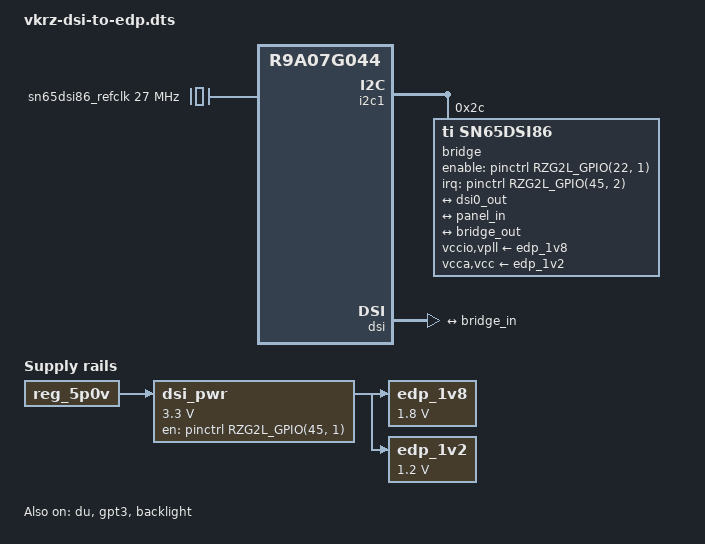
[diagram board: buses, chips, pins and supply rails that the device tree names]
     /*
 * Copyright 2023 Vekatech
 *
 * This program is free software; you can redistribute it and/or
 * modify it under the terms of the GNU General Public License
 * as published by the Free Software Foundation; either version 2
 * of the License, or (at your option) any later version.
 *
 * This program is distributed in the hope that it will be useful,
 * but WITHOUT ANY WARRANTY; without even the implied warranty of
 * MERCHANTABILITY or FITNESS FOR A PARTICULAR PURPOSE. See the
 * GNU General Public License for more details.
 */

/dts-v1/;
/plugin/;

#include <dt-bindings/pinctrl/rzg2l-pinctrl.h>
#include <dt-bindings/gpio/gpio.h>
#include <dt-bindings/interrupt-controller/irq.h>
#include <dt-bindings/interrupt-controller/irqc-rzg2l.h>

/ {
	compatible = "vekatech,vkrzg2lc", "renesas,r9a07g044";

	fragment@7 {
		target-path = "/";
		__overlay__ {
			// edp_panel:edp_panel {
			// 	status = "okay";
			// 	compatible = "boe,nv156fhm-n42";
			// 	power-supply = <&dsi_pwr>;
			// 	backlight = <&backlight>;
			// 	data-lanes = <0 1>;
			// 	port {
			// 		panel_in: endpoint {
			// 			remote-endpoint = <&bridge_out>;
			// 		};
			// 	};
			// };
            /*
             * DSI_PWR_EN (P45-1): enables 5V->3.3V and also enables 5V to panel/backlight.
             */
            dsi_pwr: dsi-pwr {
                compatible = "regulator-fixed";
                regulator-name = "dsi-pwr-en";
                regulator-min-microvolt = <3300000>;
                regulator-max-microvolt = <3300000>;
                gpio = <&pinctrl RZG2L_GPIO(45, 1) GPIO_ACTIVE_HIGH>;
                enable-active-high;
                /* enforce >= 100us before SN65 enable-gpios is asserted */
                startup-delay-us = <150000>;
                /* If 5V input regulator exists in base DTS, link it: */
                vin-supply = <&reg_5p0v>;
            };

            edp_1v8: vdd-1p8v {
                compatible = "regulator-fixed";
                regulator-name = "edp_1v8";
                regulator-min-microvolt = <1800000>;
                regulator-max-microvolt = <1800000>;
                /* 1.8V exists only when DSI power switch is on */
                vin-supply = <&dsi_pwr>;
            };
            edp_1v2: vdd-1p2v {
                compatible = "regulator-fixed";
                regulator-name = "edp_1v2";
                regulator-min-microvolt = <1200000>;
                regulator-max-microvolt = <1200000>;
                vin-supply = <&dsi_pwr>;
            };
			sn65dsi86_refclk: sn65dsi86-refclk {
				compatible = "fixed-clock";
				#clock-cells = <0>;

				clock-frequency = <27000000>;
			};
		};
	};
};

&i2c1 {
	#address-cells = <1>;
	#size-cells = <0>;

	bridge@2c {
		status = "okay";
		compatible = "ti,sn65dsi86";

		reg = <0x2c>;
		vccio-supply = <&edp_1v8>;
		vpll-supply = <&edp_1v8>;
		vcca-supply = <&edp_1v2>;
		vcc-supply = <&edp_1v2>;

		/* DSI_EN (P22-1) */
		enable-gpios = <&pinctrl RZG2L_GPIO(22, 1) GPIO_ACTIVE_HIGH>;
		/* IRQ (P45-2) */
		interrupt-parent = <&pinctrl>;
		interrupts = <RZG2L_GPIO(45, 2) IRQ_TYPE_LEVEL_HIGH>;
		irq-gpios = <&pinctrl RZG2L_GPIO(45, 2) GPIO_ACTIVE_HIGH>;

		clocks = <&sn65dsi86_refclk>;
		clock-names = "refclk";

		no-hpd;

		ports {
			#address-cells = <1>;
			#size-cells = <0>;

			port@0 {
				reg = <0>;
				bridge_in: endpoint {
					remote-endpoint = <&dsi0_out>;
					data-lanes = <1 2 3 4>;
				};
			};

			port@1 {
				reg = <1>;
				bridge_out: endpoint {
					remote-endpoint = <&panel_in>;
					data-lanes = <0 1>;
				};
			};
		};

		aux-bus {
			panel {
				compatible = "boe,nv156fhm-n42";
				// compatible = "auo,b140han06";
				// compatible = "auo,b133han05";
				// compatible = "boe,nv140fhmn49";
				// compatible = "panel-edp";
				power-supply = <&dsi_pwr>;
				backlight = <&backlight>;
				port {
					panel_in: endpoint {
						remote-endpoint = <&bridge_out>;
					};
				};
			};
        };
	};
};

&du {
	status = "okay";
};

&dsi {
	status = "okay";
	ports {
		#address-cells = <1>;
		#size-cells = <0>;
		port@1 {
			reg = <1>;
			dsi0_out: endpoint {
				data-lanes = <1 2 3 4>;
				remote-endpoint = <&bridge_in>;
			};
		};
	};
};

&gpt3 {
	status = "okay";
};

&backlight {
	status = "okay";
	power-supply = <&dsi_pwr>;
	/* BL_EN (P45-0) */
	enable-gpios = <&pinctrl RZG2L_GPIO(45, 0) GPIO_ACTIVE_HIGH>;
};
